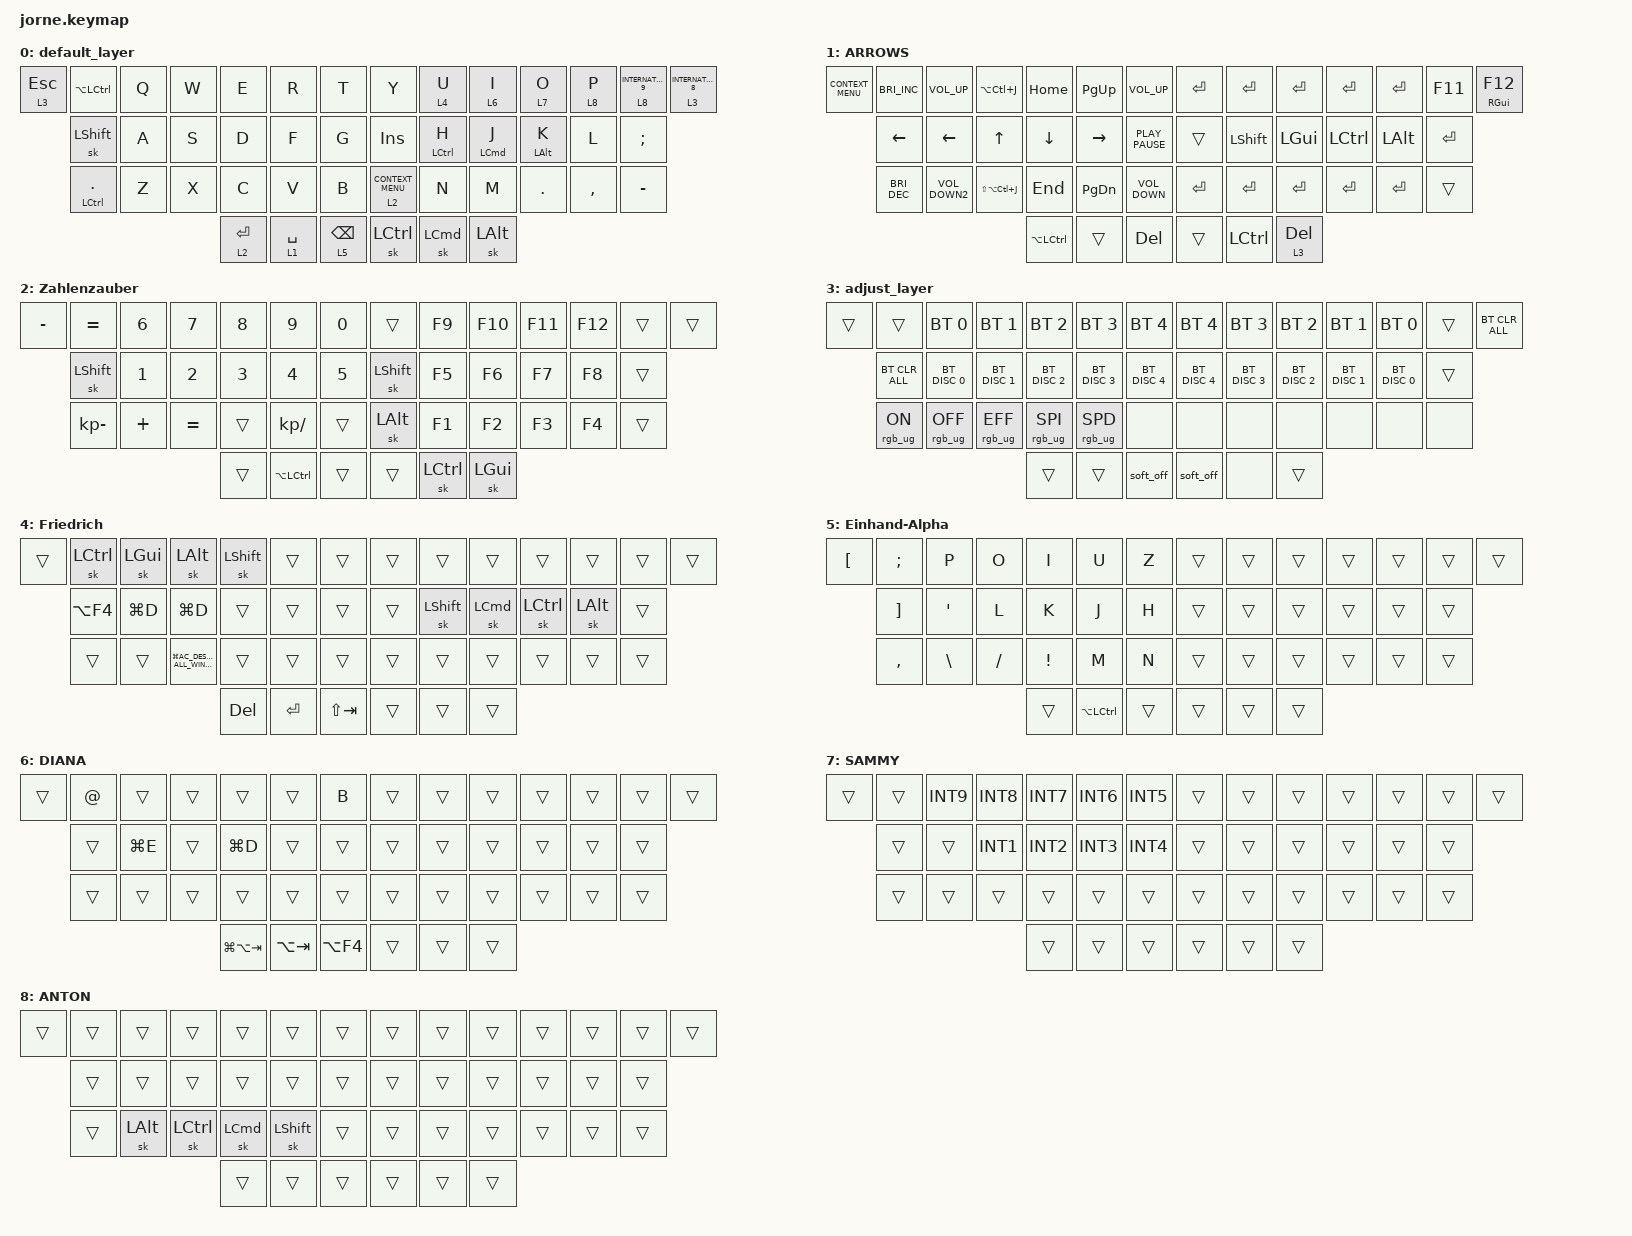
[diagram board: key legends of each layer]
/*
 * Copyright (c) 2020 The ZMK Contributors
 *
 * SPDX-License-Identifier: MIT
 */

#include <behaviors.dtsi>
#include <dt-bindings/zmk/bt.h>
#include <dt-bindings/zmk/keys.h>
#include <dt-bindings/zmk/rgb.h>

//CONFIG_ZMK_SETTINGS_SAVE_DEBOUNCE=1000
//CONFIG_ZMK_RGB_UNDERGLOW_AUTO_OFF_IDLE=y
//CONFIG_ZMK_RGB_UNDERGLOW_AUTO_OFF_USB=y

&led_strip {
    chain-length = <28>;

    // chain-length = <28>;
    // 22 backlight + 6 glowlight
};

#define DEF 0
#define LWR 1
#define RSE 2
#define ADJ 3

/ {
    keymap {
        compatible = "zmk,keymap";

        default_layer {
            // -----------------------------------------------------------------------------------------
            // |  GUI |   ~  |  Q  |  W  |  E  |  R  |  T  |   |  Y  |  U   |  I  |  O  |  P  |  [   | GUI/] |
            //        | CTRL |  A  |  S  |  D  |  F  |  G  |   |  H  |  J   |  K  |  L  |  ;  |CTRL/'|
            //        | LALT |  Z  |  X  |  C  |  V  |  B  |   |  N  |  M   |  ,  |  .  |  /  | RALT |
            //                           | RSE | SPC | LWR |   | LWR | BKSP | RSE |

            bindings = <
&lt 3 ESC  &kp LA(LEFT_CONTROL)  &kp Q  &kp W  &kp E        &kp R        &kp T              &kp Y                 &lt 4 U             &lt 6 I             &lt 7 O     &lt 8 P    &lt 8 INTERNATIONAL_9  &lt 3 INTERNATIONAL_8
           &sk LEFT_SHIFT        &kp A  &kp S  &kp D        &kp F        &kp G              &kp INSERT            &mt LEFT_CONTROL H  &mt LEFT_COMMAND J  &mt LALT K  &kp L      &kp SEMICOLON
           &mt LEFT_CONTROL DOT  &kp Z  &kp X  &kp C        &kp V        &kp B              &lt 2 K_CONTEXT_MENU  &kp N               &kp M               &kp DOT     &kp COMMA  &kp MINUS
                                               &lt 2 ENTER  &lt 1 SPACE  &lt 5 BACKSPACE    &sk LEFT_CONTROL      &sk LEFT_COMMAND    &sk LEFT_ALT
            >;
        };

        ARROWS {
            // -----------------------------------------------------------------------------------------
            // |     |  _  |  F1 |  F2 |  F3 |  F4 |  F5 |   |  F6 |  F7 |  F8 |  F9 | F10 | F11 | F12 |
            //       |  +  |  !  |  @  |  #  |  $  |  %  |   |  ^  |  &  |  *  |  (  |  )  |  -  |
            //       |  =  |  1  |  2  |  3  |  4  |  5  |   |  6  |  7  |  8  |  9  |  0  |     |
            //                    | GUI |     | SPC |   | ENT |     | ALT |

            bindings = <
&kp K_CONTEXT_MENU  &kp C_BRIGHTNESS_INC  &kp K_VOLUME_UP     &kp LA(LC(J))      &kp HOME              &kp PG_UP      &kp K_VOLUME_UP      &kp RET  &kp RET           &kp RET    &kp RET           &kp RET       &kp F11  &mt RGUI F12
                    &kp LEFT_ARROW        &kp LEFT            &kp UP             &kp DOWN              &kp RIGHT      &kp K_PLAY_PAUSE     &trans   &kp LSHFT         &kp LGUI   &kp LEFT_CONTROL  &kp LEFT_ALT  &kp RET
                    &kp C_BRIGHTNESS_DEC  &kp K_VOLUME_DOWN2  &kp LS(LA(LC(J)))  &kp END               &kp PAGE_DOWN  &kp K_VOLUME_DOWN    &kp RET  &kp RET           &kp RET    &kp RET           &kp RET       &trans
                                                                                 &kp LA(LEFT_CONTROL)  &trans         &kp DELETE           &trans   &kp LEFT_CONTROL  &lt 3 DEL
            >;
        };

        Zahlenzauber {
            bindings = <
&kp MINUS  &kp EQUAL       &kp N6    &kp N7     &kp N8  &kp N9                &kp N0    &trans          &kp F9            &kp F10       &kp F11  &kp F12  &trans  &trans
           &sk LEFT_SHIFT  &kp N1    &kp N2     &kp N3  &kp N4                &kp N5    &sk LEFT_SHIFT  &kp F5            &kp F6        &kp F7   &kp F8   &trans
           &kp KP_MINUS    &kp PLUS  &kp EQUAL  &trans  &kp KP_DIVIDE         &trans    &sk LEFT_ALT    &kp F1            &kp F2        &kp F3   &kp F4   &trans
                                                &trans  &kp LA(LEFT_CONTROL)  &trans    &trans          &sk LEFT_CONTROL  &sk LEFT_GUI
            >;
        };

        adjust_layer {
            // -----------------------------------------------------------------------------------------
            // | RST | BLDR |     |     |OUTTG|     |SFTOFF|   |SFTOFF|     |OUTTG|     |     | BLDR | RST |
            //       | BTCLR| BT0 | BT1 | BT2 | BT3 | BT4 |     | BT4 | BT3 | BT2 | BT1 | BT0 | BTCLR|
            //       | LED+ | LED-|LED_M|LEDS+|LEDS-|     |     |     |     |     |     |     |      |
            //                          |     |     |     |     |     |     |     |

            bindings = <
&trans  &trans          &bt BT_SEL 0     &bt BT_SEL 1     &bt BT_SEL 2     &bt BT_SEL 3     &bt BT_SEL 4     &bt BT_SEL 4   &bt BT_SEL 3   &bt BT_SEL 2   &bt BT_SEL 1   &bt BT_SEL 0   &trans  &bt BT_CLR_ALL
        &bt BT_CLR_ALL  &bt BT_DISC 0    &bt BT_DISC 1    &bt BT_DISC 2    &bt BT_DISC 3    &bt BT_DISC 4    &bt BT_DISC 4  &bt BT_DISC 3  &bt BT_DISC 2  &bt BT_DISC 1  &bt BT_DISC 0  &trans
        &rgb_ug RGB_ON  &rgb_ug RGB_OFF  &rgb_ug RGB_EFF  &rgb_ug RGB_SPI  &rgb_ug RGB_SPD  &none            &none          &none          &none          &none          &none          &none
                                                          &trans           &trans           &soft_off        &soft_off      &none          &trans
            >;
        };

        Friedrich {
            bindings = <
&trans  &sk LCTRL   &sk LEFT_GUI  &sk LEFT_ALT                           &sk LEFT_SHIFT  &trans     &trans         &trans  &trans          &trans            &trans            &trans        &trans  &trans
        &kp LA(F4)  &kp LG(D)     &kp LG(D)                              &trans          &trans     &trans         &trans  &sk LEFT_SHIFT  &sk LEFT_COMMAND  &sk LEFT_CONTROL  &sk LEFT_ALT  &trans
        &trans      &trans        &kp LG(C_AC_DESKTOP_SHOW_ALL_WINDOWS)  &trans          &trans     &trans         &trans  &trans          &trans            &trans            &trans        &trans
                                                                         &kp DELETE      &kp ENTER  &kp LS(TAB)    &trans  &trans          &trans
            >;
        };

        Einhand-Alpha {
            bindings = <
&kp LBKT  &kp SEMI   &kp P     &kp O     &kp I     &kp U                 &kp Z     &trans  &trans  &trans  &trans  &trans  &trans  &trans
          &kp RBKT   &kp APOS  &kp L     &kp K     &kp J                 &kp H     &trans  &trans  &trans  &trans  &trans  &trans
          &kp COMMA  &kp BSLH  &kp FSLH  &kp EXCL  &kp M                 &kp N     &trans  &trans  &trans  &trans  &trans  &trans
                                         &trans    &kp LA(LEFT_CONTROL)  &trans    &trans  &trans  &trans
            >;
        };

        DIANA {
            bindings = <
&trans  &kp AT_SIGN  &trans     &trans  &trans           &trans       &kp B         &trans  &trans  &trans  &trans  &trans  &trans  &trans
        &trans       &kp LG(E)  &trans  &kp LG(D)        &trans       &trans        &trans  &trans  &trans  &trans  &trans  &trans
        &trans       &trans     &trans  &trans           &trans       &trans        &trans  &trans  &trans  &trans  &trans  &trans
                                        &kp LG(LA(TAB))  &kp LA(TAB)  &kp LA(F4)    &trans  &trans  &trans
            >;
        };

        SAMMY {
            bindings = <
&trans  &trans  &kp INT9  &kp INT8  &kp INT7  &kp INT6  &kp INT5    &trans  &trans  &trans  &trans  &trans  &trans  &trans
        &trans  &trans    &kp INT1  &kp INT2  &kp INT3  &kp INT4    &trans  &trans  &trans  &trans  &trans  &trans
        &trans  &trans    &trans    &trans    &trans    &trans      &trans  &trans  &trans  &trans  &trans  &trans
                                    &trans    &trans    &trans      &trans  &trans  &trans
            >;
        };

        ANTON {
            bindings = <
&trans  &trans  &trans        &trans            &trans            &trans          &trans    &trans  &trans  &trans  &trans  &trans  &trans  &trans
        &trans  &trans        &trans            &trans            &trans          &trans    &trans  &trans  &trans  &trans  &trans  &trans
        &trans  &sk LEFT_ALT  &sk LEFT_CONTROL  &sk LEFT_COMMAND  &sk LEFT_SHIFT  &trans    &trans  &trans  &trans  &trans  &trans  &trans
                                                &trans            &trans          &trans    &trans  &trans  &trans
            >;
        };
    };

    conditional_layers { compatible = "zmk,conditional-layers"; };
};
